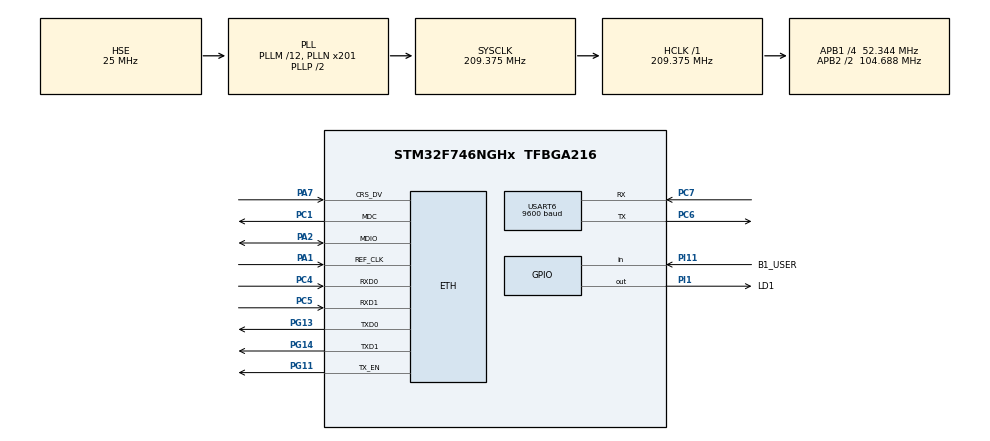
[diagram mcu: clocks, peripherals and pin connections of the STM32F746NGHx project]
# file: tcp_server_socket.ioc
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CORTEX_M7.AccessPermission-Cortex_Memory_Protection_Unit_Region0_Settings=MPU_REGION_NO_ACCESS
CORTEX_M7.AccessPermission-Cortex_Memory_Protection_Unit_Region1_Settings=MPU_REGION_FULL_ACCESS
CORTEX_M7.AccessPermission-Cortex_Memory_Protection_Unit_Region2_Settings=MPU_REGION_FULL_ACCESS
CORTEX_M7.BaseAddress-Cortex_Memory_Protection_Unit_Region0_Settings=0x00
CORTEX_M7.BaseAddress-Cortex_Memory_Protection_Unit_Region1_Settings=0x20048000
CORTEX_M7.BaseAddress-Cortex_Memory_Protection_Unit_Region2_Settings=0x2004C000
CORTEX_M7.CPU_DCache=Enabled
CORTEX_M7.CPU_ICache=Enabled
CORTEX_M7.DisableExec-Cortex_Memory_Protection_Unit_Region0_Settings=MPU_INSTRUCTION_ACCESS_DISABLE
CORTEX_M7.Enable-Cortex_Memory_Protection_Unit_Region0_Settings=MPU_REGION_ENABLE
CORTEX_M7.Enable-Cortex_Memory_Protection_Unit_Region1_Settings=MPU_REGION_ENABLE
CORTEX_M7.Enable-Cortex_Memory_Protection_Unit_Region2_Settings=MPU_REGION_ENABLE
CORTEX_M7.IsBufferable-Cortex_Memory_Protection_Unit_Region2_Settings=MPU_ACCESS_BUFFERABLE
CORTEX_M7.IsShareable-Cortex_Memory_Protection_Unit_Region0_Settings=MPU_ACCESS_SHAREABLE
CORTEX_M7.IsShareable-Cortex_Memory_Protection_Unit_Region2_Settings=MPU_ACCESS_SHAREABLE
CORTEX_M7.MPU_Control=MPU_PRIVILEGED_DEFAULT
CORTEX_M7.Size-Cortex_Memory_Protection_Unit_Region0_Settings=MPU_REGION_SIZE_4GB
CORTEX_M7.Size-Cortex_Memory_Protection_Unit_Region1_Settings=MPU_REGION_SIZE_16KB
CORTEX_M7.Size-Cortex_Memory_Protection_Unit_Region2_Settings=MPU_REGION_SIZE_1KB
CORTEX_M7.SubRegionDisable-Cortex_Memory_Protection_Unit_Region0_Settings=0x87
CORTEX_M7.TypeExtField-Cortex_Memory_Protection_Unit_Region0_Settings=MPU_TEX_LEVEL1
CORTEX_M7.TypeExtField-Cortex_Memory_Protection_Unit_Region1_Settings=MPU_TEX_LEVEL1
ETH.MediaInterface=HAL_ETH_RMII_MODE
ETH.RxDescAddress=0x2004C000
ETH.TxDescAddress=0x2004C0a0
FREERTOS.Tasks01=defaultTask,24,256,StartDefaultTask,Default,NULL,Dynamic,NULL,NULL
FREERTOS.configCHECK_FOR_STACK_OVERFLOW=2
FREERTOS.configLIBRARY_MAX_SYSCALL_INTERRUPT_PRIORITY=5
FREERTOS.configMAX_TASK_NAME_LEN=64
FREERTOS.configTOTAL_HEAP_SIZE=25*1024
FREERTOS.configUSE_NEWLIB_REENTRANT=1
FREERTOS.configUSE_STATS_FORMATTING_FUNCTIONS=1
LWIP.BSP.number=1
LWIP.CHECKSUM_GEN_ICMP=0
LWIP.CHECKSUM_GEN_IP=0
LWIP.CHECKSUM_GEN_TCP=1
LWIP.CHECKSUM_GEN_UDP=0
LWIP.GATEWAY_ADDRESS=192.168.000.001
LWIP.IP_ADDRESS=192.168.000.111
LWIP.LWIP_DHCP=0
LWIP.LWIP_HTTPD=1
LWIP.LWIP_TCP_KEEPALIVE=1
LWIP.MEMP_NUM_NETCONN=16
LWIP.MEMP_NUM_TCP_PCB_LISTEN=16
LWIP.MEMP_NUM_TCP_SEG=24
LWIP.MEM_SIZE=16*1048
LWIP.NETMASK_ADDRESS=255.255.255.000
LWIP.TCPIP_THREAD_STACKSIZE=5*1024
LWIP.TCP_MSS=1024
LWIP.TCP_SND_BUF=2048
LWIP.TCP_WND=8192
LWIP.Version=v2.1.2_Cube
LWIP0.BSP.STBoard=false
LWIP0.BSP.api=BSP_COMPONENT_DRIVER
LWIP0.BSP.component=LAN8742
LWIP0.BSP.instance=LAN8742
LWIP0.BSP.name=Driver_PHY
LWIP0.BSP.semaphore=S_LAN8742
LWIP0.BSP.solution=LAN8742
MBEDTLS.MBEDTLS_AES_C=0
MBEDTLS.MBEDTLS_ARC4_C=0
MBEDTLS.MBEDTLS_ASN1_PARSE_C=0
MBEDTLS.MBEDTLS_ASN1_WRITE_C=0
MBEDTLS.MBEDTLS_BASE64_C=1
MBEDTLS.MBEDTLS_BIGNUM_C=0
MBEDTLS.MBEDTLS_BLOWFISH_C=0
MBEDTLS.MBEDTLS_CAMELLIA_C=0
MBEDTLS.MBEDTLS_CERTS_C=0
MBEDTLS.MBEDTLS_CHACHA20_C=0
MBEDTLS.MBEDTLS_CIPHER_C=0
MBEDTLS.MBEDTLS_CIPHER_MODE_CBC=0
MBEDTLS.MBEDTLS_CIPHER_MODE_CFB=0
MBEDTLS.MBEDTLS_CIPHER_MODE_CTR=0
MBEDTLS.MBEDTLS_CIPHER_MODE_OFB=0
MBEDTLS.MBEDTLS_CIPHER_MODE_XTS=0
MBEDTLS.MBEDTLS_CIPHER_PADDING_ONE_AND_ZEROS=0
MBEDTLS.MBEDTLS_CIPHER_PADDING_PKCS7=0
MBEDTLS.MBEDTLS_CIPHER_PADDING_ZEROS=0
MBEDTLS.MBEDTLS_CIPHER_PADDING_ZEROS_AND_LEN=0
MBEDTLS.MBEDTLS_DES_C=0
MBEDTLS.MBEDTLS_DHM_C=0
MBEDTLS.MBEDTLS_ECDSA_DETERMINISTIC=0
MBEDTLS.MBEDTLS_ECP_DP_BP256R1_ENABLED=0
MBEDTLS.MBEDTLS_ECP_DP_BP384R1_ENABLED=0
MBEDTLS.MBEDTLS_ECP_DP_BP512R1_ENABLED=0
MBEDTLS.MBEDTLS_ECP_DP_CURVE25519_ENABLED=0
MBEDTLS.MBEDTLS_ECP_DP_CURVE448_ENABLED=0
MBEDTLS.MBEDTLS_ECP_DP_SECP192K1_ENABLED=0
MBEDTLS.MBEDTLS_ECP_DP_SECP192R1_ENABLED=0
MBEDTLS.MBEDTLS_ECP_DP_SECP224K1_ENABLED=0
MBEDTLS.MBEDTLS_ECP_DP_SECP224R1_ENABLED=0
MBEDTLS.MBEDTLS_ECP_DP_SECP256K1_ENABLED=0
MBEDTLS.MBEDTLS_ECP_DP_SECP256R1_ENABLED=0
MBEDTLS.MBEDTLS_ECP_DP_SECP384R1_ENABLED=0
MBEDTLS.MBEDTLS_ECP_DP_SECP521R1_ENABLED=0
MBEDTLS.MBEDTLS_ECP_NIST_OPTIM=0
MBEDTLS.MBEDTLS_ENTROPY_C=0
MBEDTLS.MBEDTLS_ERROR_C=0
MBEDTLS.MBEDTLS_ERROR_STRERROR_DUMMY=0
MBEDTLS.MBEDTLS_GENPRIME=0
MBEDTLS.MBEDTLS_HAVE_ASM=0
MBEDTLS.MBEDTLS_HAVE_TIME=0
MBEDTLS.MBEDTLS_HAVE_TIME_DATE=0
MBEDTLS.MBEDTLS_HKDF_C=0
MBEDTLS.MBEDTLS_HMAC_DRBG_C=0
MBEDTLS.MBEDTLS_KEY_EXCHANGE_DHE_PSK_ENABLED=0
MBEDTLS.MBEDTLS_KEY_EXCHANGE_PSK_ENABLED=0
MBEDTLS.MBEDTLS_MD5_C=0
MBEDTLS.MBEDTLS_MD_C=0
MBEDTLS.MBEDTLS_NET_C=0
MBEDTLS.MBEDTLS_NO_DEFAULT_ENTROPY_SOURCES=0
MBEDTLS.MBEDTLS_NO_PLATFORM_ENTROPY=0
MBEDTLS.MBEDTLS_NO_UDBL_DIVISION=0
MBEDTLS.MBEDTLS_OID_C=0
MBEDTLS.MBEDTLS_PEM_PARSE_C=1
MBEDTLS.MBEDTLS_PEM_WRITE_C=1
MBEDTLS.MBEDTLS_PKCS1_V15=0
MBEDTLS.MBEDTLS_PKCS1_V21=0
MBEDTLS.MBEDTLS_PK_PARSE_EC_EXTENDED=0
MBEDTLS.MBEDTLS_PK_RSA_ALT_SUPPORT=0
MBEDTLS.MBEDTLS_PLATFORM_C=0
MBEDTLS.MBEDTLS_POLY1305_C=0
MBEDTLS.MBEDTLS_REMOVE_3DES_CIPHERSUITES=0
MBEDTLS.MBEDTLS_REMOVE_ARC4_CIPHERSUITES=0
MBEDTLS.MBEDTLS_RIPEMD160_C=0
MBEDTLS.MBEDTLS_SELF_TEST=0
MBEDTLS.MBEDTLS_SHA1_C=1
MBEDTLS.MBEDTLS_SHA256_C=0
MBEDTLS.MBEDTLS_SHA512_C=0
MBEDTLS.MBEDTLS_SSL_CLI_C=0
MBEDTLS.MBEDTLS_SSL_SRV_C=0
MBEDTLS.MBEDTLS_VERSION_C=0
MBEDTLS.MBEDTLS_VERSION_FEATURES=0
MBEDTLS.MBEDTLS_X509_CHECK_EXTENDED_KEY_USAGE=0
MBEDTLS.MBEDTLS_X509_CHECK_KEY_USAGE=0
MBEDTLS.MBEDTLS_X509_RSASSA_PSS_SUPPORT=0
MBEDTLS.MBEDTLS_XTEA_C=0
Mcu.Family=STM32F7
Mcu.Name=STM32F746NGHx
Mcu.Package=TFBGA216
NVIC.ETH_IRQn=true\:15\:0\:true\:false\:true\:true\:false\:true\:true
NVIC.PriorityGroup=NVIC_PRIORITYGROUP_4
NVIC.TIM2_IRQn=true\:15\:0\:true\:false\:true\:false\:false\:true\:true
NVIC.TimeBase=TIM2_IRQn
NVIC.TimeBaseIP=TIM2
PA1.Mode=RMII
PA1.Signal=ETH_REF_CLK
PA13.Mode=Trace_Asynchronous_SW
PA13.Signal=SYS_JTMS-SWDIO
PA14.Mode=Trace_Asynchronous_SW
PA14.Signal=SYS_JTCK-SWCLK
PA2.Mode=RMII
PA2.Signal=ETH_MDIO
PA7.Mode=RMII
PA7.Signal=ETH_CRS_DV
PB3.Mode=Trace_Asynchronous_SW
PB3.Signal=SYS_JTDO-SWO
PC1.Mode=RMII
PC1.Signal=ETH_MDC
PC4.Mode=RMII
PC4.Signal=ETH_RXD0
PC5.Mode=RMII
PC5.Signal=ETH_RXD1
PC6.Mode=Asynchronous
PC6.Signal=USART6_TX
PC7.Mode=Asynchronous
PC7.Signal=USART6_RX
PG11.Mode=RMII
PG11.Signal=ETH_TX_EN
PG13.Mode=RMII
PG13.Signal=ETH_TXD0
PG14.Mode=RMII
PG14.Signal=ETH_TXD1
PH0/OSC_IN.Mode=HSE-External-Oscillator
PH0/OSC_IN.Signal=RCC_OSC_IN
PH1/OSC_OUT.Mode=HSE-External-Oscillator
PH1/OSC_OUT.Signal=RCC_OSC_OUT
PI1.GPIO_Label=LD1
PI1.GPIO_PuPd=GPIO_PULLDOWN
PI1.Signal=GPIO_Output
PI11.GPIO_Label=B1_USER
PI11.GPIO_PuPd=GPIO_PULLDOWN
PI11.Signal=GPIO_Input
ProjectManager.HeapSize=0x2000
ProjectManager.StackSize=0x4000
ProjectManager.TargetToolchain=STM32CubeIDE
RCC.AHBFreq_Value=209375000
RCC.APB1CLKDivider=RCC_HCLK_DIV4
RCC.APB1Freq_Value=52343750
RCC.APB1TimFreq_Value=104687500
RCC.APB2CLKDivider=RCC_HCLK_DIV2
RCC.APB2Freq_Value=104687500
RCC.APB2TimFreq_Value=209375000
RCC.CortexFreq_Value=209375000
RCC.HCLKFreq_Value=209375000
RCC.HSE_VALUE=25000000
RCC.HSI_VALUE=16000000
RCC.LSE_VALUE=32768
RCC.PLL48CLockSelection=RCC_CLK48SOURCE_PLLSAIP
RCC.PLLI2SN=100
RCC.PLLM=12
RCC.PLLN=201
RCC.PLLQ=9
RCC.PLLSAIN=384
RCC.PLLSAIP=RCC_PLLSAIP_DIV8
RCC.PLLSAIR=5
RCC.PLLSAIRDiv=RCC_PLLSAIDIVR_8
RCC.PLLSourceVirtual=RCC_PLLSOURCE_HSE
RCC.SDMMCClockSelection=RCC_SDMMC1CLKSOURCE_CLK48
RCC.SYSCLKFreq_VALUE=209375000
RCC.SYSCLKSource=RCC_SYSCLKSOURCE_PLLCLK
RCC.USBFreq_Value=100000000
RCC.VCOOutputFreq_Value=418750000
USART6.BaudRate=9600
USART6.VirtualMode-Asynchronous=VM_ASYNC
VP_FREERTOS_VS_CMSIS_V2.Mode=CMSIS_V2
VP_LWIP_VS_Enabled.Mode=Enabled
VP_MBEDTLS_VS_MBEDTLS.Mode=Enabled
VP_SYS_VS_tim2.Mode=TIM2
board=STM32F746G-DISCO

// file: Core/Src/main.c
/* USER CODE BEGIN Header */
/**
  ******************************************************************************
  * @file           : main.c
  * @brief          : Main program body
  ******************************************************************************
  * @attention
  *
  * Copyright (c) 2025 STMicroelectronics.
  * All rights reserved.
  *
  * This software is licensed under terms that can be found in the LICENSE file
  * in the root directory of this software component.
  * If no LICENSE file comes with this software, it is provided AS-IS.
  *
  ******************************************************************************
  */
/* USER CODE END Header */
#include "main.h"
#include "cmsis_os.h"
#include "mbedtls.h"
#include "usart.h"
#include "gpio.h"

void SystemClock_Config(void);
static void MPU_Config(void);
void MX_FREERTOS_Init(void);

int main(void)
{

  /* MPU Configuration--------------------------------------------------------*/
  MPU_Config();
/* Enable the CPU Cache */

  /* Enable I-Cache---------------------------------------------------------*/
  SCB_EnableICache();

  /* Enable D-Cache---------------------------------------------------------*/
  SCB_EnableDCache();

  /* MCU Configuration--------------------------------------------------------*/

  /* Reset of all peripherals, Initializes the Flash interface and the Systick. */
  HAL_Init();

  /* Configure the system clock */
  SystemClock_Config();

  /* Initialize all configured peripherals */
  MX_GPIO_Init();
  MX_MBEDTLS_Init();
  MX_USART6_UART_Init();
  /* Call PreOsInit function */
  MX_MBEDTLS_Init();

  /* Init scheduler */
  osKernelInitialize();

  /* Call init function for freertos objects (in freertos.c) */
  MX_FREERTOS_Init();

  /* Start scheduler */
  osKernelStart();

  /* We should never get here as control is now taken by the scheduler */
  /* Infinite loop */
  while (1)
  {

  }
}

void SystemClock_Config(void)
{
  RCC_OscInitTypeDef RCC_OscInitStruct = {0};
  RCC_ClkInitTypeDef RCC_ClkInitStruct = {0};

  /** Configure the main internal regulator output voltage
  */
  __HAL_RCC_PWR_CLK_ENABLE();
  __HAL_PWR_VOLTAGESCALING_CONFIG(PWR_REGULATOR_VOLTAGE_SCALE1);

  /** Initializes the RCC Oscillators according to the specified parameters
  * in the RCC_OscInitTypeDef structure.
  */
  RCC_OscInitStruct.OscillatorType = RCC_OSCILLATORTYPE_HSE;
  RCC_OscInitStruct.HSEState = RCC_HSE_ON;
  RCC_OscInitStruct.PLL.PLLState = RCC_PLL_ON;
  RCC_OscInitStruct.PLL.PLLSource = RCC_PLLSOURCE_HSE;
  RCC_OscInitStruct.PLL.PLLM = 12;
  RCC_OscInitStruct.PLL.PLLN = 201;
  RCC_OscInitStruct.PLL.PLLP = RCC_PLLP_DIV2;
  RCC_OscInitStruct.PLL.PLLQ = 9;
  if (HAL_RCC_OscConfig(&RCC_OscInitStruct) != HAL_OK)
  {
    Error_Handler();
  }

  /** Activate the Over-Drive mode
  */
  if (HAL_PWREx_EnableOverDrive() != HAL_OK)
  {
    Error_Handler();
  }

  /** Initializes the CPU, AHB and APB buses clocks
  */
  RCC_ClkInitStruct.ClockType = RCC_CLOCKTYPE_HCLK|RCC_CLOCKTYPE_SYSCLK
                              |RCC_CLOCKTYPE_PCLK1|RCC_CLOCKTYPE_PCLK2;
  RCC_ClkInitStruct.SYSCLKSource = RCC_SYSCLKSOURCE_PLLCLK;
  RCC_ClkInitStruct.AHBCLKDivider = RCC_SYSCLK_DIV1;
  RCC_ClkInitStruct.APB1CLKDivider = RCC_HCLK_DIV4;
  RCC_ClkInitStruct.APB2CLKDivider = RCC_HCLK_DIV2;

  if (HAL_RCC_ClockConfig(&RCC_ClkInitStruct, FLASH_LATENCY_6) != HAL_OK)
  {
    Error_Handler();
  }
}

/* MPU Configuration */

void MPU_Config(void)
{
  MPU_Region_InitTypeDef MPU_InitStruct = {0};

  /* Disables the MPU */
  HAL_MPU_Disable();

  /** Initializes and configures the Region and the memory to be protected
  */
  MPU_InitStruct.Enable = MPU_REGION_ENABLE;
  MPU_InitStruct.Number = MPU_REGION_NUMBER0;
  MPU_InitStruct.BaseAddress = 0x00;
  MPU_InitStruct.Size = MPU_REGION_SIZE_4GB;
  MPU_InitStruct.SubRegionDisable = 0x87;
  MPU_InitStruct.TypeExtField = MPU_TEX_LEVEL1;
  MPU_InitStruct.AccessPermission = MPU_REGION_NO_ACCESS;
  MPU_InitStruct.DisableExec = MPU_INSTRUCTION_ACCESS_DISABLE;
  MPU_InitStruct.IsShareable = MPU_ACCESS_SHAREABLE;
  MPU_InitStruct.IsCacheable = MPU_ACCESS_NOT_CACHEABLE;
  MPU_InitStruct.IsBufferable = MPU_ACCESS_NOT_BUFFERABLE;

  HAL_MPU_ConfigRegion(&MPU_InitStruct);

  /** Initializes and configures the Region and the memory to be protected
  */
  MPU_InitStruct.Number = MPU_REGION_NUMBER1;
  MPU_InitStruct.BaseAddress = 0x20048000;
  MPU_InitStruct.Size = MPU_REGION_SIZE_16KB;
  MPU_InitStruct.SubRegionDisable = 0x0;
  MPU_InitStruct.AccessPermission = MPU_REGION_FULL_ACCESS;
  MPU_InitStruct.DisableExec = MPU_INSTRUCTION_ACCESS_ENABLE;
  MPU_InitStruct.IsShareable = MPU_ACCESS_NOT_SHAREABLE;

  HAL_MPU_ConfigRegion(&MPU_InitStruct);

  /** Initializes and configures the Region and the memory to be protected
  */
  MPU_InitStruct.Number = MPU_REGION_NUMBER2;
  MPU_InitStruct.BaseAddress = 0x2004C000;
  MPU_InitStruct.Size = MPU_REGION_SIZE_1KB;
  MPU_InitStruct.TypeExtField = MPU_TEX_LEVEL0;
  MPU_InitStruct.IsShareable = MPU_ACCESS_SHAREABLE;
  MPU_InitStruct.IsBufferable = MPU_ACCESS_BUFFERABLE;

  HAL_MPU_ConfigRegion(&MPU_InitStruct);
  /* Enables the MPU */
  HAL_MPU_Enable(MPU_PRIVILEGED_DEFAULT);

}

void HAL_TIM_PeriodElapsedCallback(TIM_HandleTypeDef *htim)
{
  if (htim->Instance == TIM2) {
    HAL_IncTick();
  }
}

void Error_Handler(void)
{
  __disable_irq();
  while (1)
  {
  }
}

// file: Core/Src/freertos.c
/* USER CODE BEGIN Header */
/**
  ******************************************************************************
  * File Name          : freertos.c
  * Description        : Code for freertos applications
  ******************************************************************************
  * @attention
  *
  * Copyright (c) 2025 STMicroelectronics.
  * All rights reserved.
  *
  * This software is licensed under terms that can be found in the LICENSE file
  * in the root directory of this software component.
  * If no LICENSE file comes with this software, it is provided AS-IS.
  *
  ******************************************************************************
  */
/* USER CODE END Header */

#include "FreeRTOS.h"
#include "task.h"
#include "main.h"
#include "cmsis_os.h"

/* USER CODE BEGIN Includes */
#include "app.h"
#include "fs.h"
#include "stdio.h"
#include "sockets.h"
#include "mbedtls/sha1.h"
#include "mbedtls/base64.h"
/* USER CODE END Includes */

/* USER CODE BEGIN Variables */
#ifdef ENABLE_MODBUS_TCP
const osThreadAttr_t tcp_server_Task_attributes = {
  .name = "tcp_server_thread",
  .stack_size = TCP_STACK_SIZE,
  .priority = (osPriority_t) osPriorityNormal,
};

osThreadId_t tcp_server_TaskHandle = NULL;
#endif

const osThreadAttr_t httpServerTask_attributes = {
  .name = "httpServerTask",
  .stack_size =  HTTP_SERVER_STACK_SIZE,
  .priority = (osPriority_t) osPriorityNormal1,
};

osThreadId_t httpServerTaskHandle = NULL;

const osThreadAttr_t ws_thread_attr = {
    .name = "WebSocketThread",
    .stack_size = WEBSOCKET_STACK_SIZE,
	.priority = (osPriority_t) osPriorityNormal
};

osThreadId_t ws_thread_id = NULL;

osMessageQueueId_t ws_queue;
#ifdef ENABLE_MODBUS_TCP
static ts_client_socket clients_sock_arr[MAX_TCP_SOCK_CLIENTS] ;

static nmbs_t nmbs;

static nmbs_server_t nmbs_server = {.id = 0x01,.coils = {0},.regs = {0},.input_regs = {0}};
#endif
/* USER CODE END Variables */
/* Definitions for defaultTask */
osThreadId_t defaultTaskHandle;
const osThreadAttr_t defaultTask_attributes = {
  .name = "defaultTask",
  .stack_size = 256 * 4,
  .priority = (osPriority_t) osPriorityNormal,
};

/* USER CODE BEGIN FunctionPrototypes */
#ifdef ENABLE_MODBUS_TCP
static void tcp_server_thread(void* argument);
#endif
static void http_server_thread(void* argument);
static void websocket_thread(void *argument);
void generate_ws_accept(const char *key, char *output);
int parse_ws_frame(const char *data, int len, ws_frame_t *frame);
int create_ws_frame(char *buffer, int buflen, const char *payload, int payload_len, uint8_t opcode);
void send_response(int sock, const char *content_type, const char *data, int len);
void broadcast_to_ws_clients(int* clients_sock,const char *message, int len);
/* USER CODE END FunctionPrototypes */

void StartDefaultTask(void *argument);

extern void MX_LWIP_Init(void);
void MX_FREERTOS_Init(void); /* (MISRA C 2004 rule 8.1) */

/* Hook prototypes */
void vApplicationStackOverflowHook(xTaskHandle xTask, signed char *pcTaskName);

/* USER CODE BEGIN 4 */
void vApplicationStackOverflowHook(xTaskHandle xTask, signed char *pcTaskName)
{
	printf("Stack overflow in %s\r\n",pcTaskName);
	__NOP();
}

void vApplicationMallocFailedHook(void)
{
	printf("Low heap!\r\n");
	__NOP();
}

int _write(int file,char* ptr,int len)
{
	for(int DataIdx=0;DataIdx<len;DataIdx++)
	{
#ifdef DEBUG_THROUGH_ITM
		ITM_SendChar(*ptr++);
#elif defined(DEBUG_THROUGH_UART)
		HAL_UART_Transmit(DEBUG_UART_HANDLE, (uint8_t*)ptr++, (uint16_t)1,1000);
#endif
	}
	return len;
}
/* USER CODE END 4 */

void MX_FREERTOS_Init(void) {

  /* Create the thread(s) */
  /* creation of defaultTask */
  defaultTaskHandle = osThreadNew(StartDefaultTask, NULL, &defaultTask_attributes);

}

void StartDefaultTask(void *argument)
{
  /* USER CODE BEGIN StartDefaultTask */
  MX_LWIP_Init();

  osDelay(500); //let ITM stabilize
#ifdef ENABLE_MODBUS_TCP
  tcp_server_TaskHandle = osThreadNew(tcp_server_thread, NULL, &tcp_server_Task_attributes);

  if(tcp_server_TaskHandle == NULL)
  {
	  printf("failed to create tcp_server_thread");
	  Error_Handler();
  }
#endif

  httpServerTaskHandle = osThreadNew(http_server_thread, NULL, &httpServerTask_attributes);

  if(httpServerTaskHandle == NULL)
  {
	  printf("failed to create httpServerTask\r\n");
	  Error_Handler();
  }

  ws_thread_id = osThreadNew(websocket_thread, NULL, &ws_thread_attr);

  if(ws_thread_id == NULL)
  {
	  printf("failed to create WebSocketThread\r\n");
	  Error_Handler();
  }

  ws_queue = osMessageQueueNew(4, sizeof(int), NULL);

  if(ws_queue == NULL)
  {
	  printf("failed to create WebSocket queue\r\n");
	  Error_Handler();
  }
  /* Infinite loop */
  for(;;)
  {
    osDelay(1000);
  }
  /* USER CODE END StartDefaultTask */
}

/* USER CODE BEGIN Application */
static void websocket_thread(void *argument)
{
	printf("Start %s\n\r",osThreadGetName(osThreadGetId()));
    char frame[256];
    int clients_sock[MAX_WS_CLIENTS] = {[0 ... (MAX_WS_CLIENTS-1)] =  -1};
    _Bool is_button_rised = true;

    for(;;)
    {
        int new_sock = -1;
        if (osMessageQueueGet(ws_queue, &new_sock, NULL, 0) == osOK)
        {
            for (int idx = 0; idx < MAX_WS_CLIENTS; idx++)
            {
                if (clients_sock[idx] < 0)
                {
                	clients_sock[idx] = new_sock;
                    fcntl(new_sock, F_SETFL, O_NONBLOCK);
                    printf("%s: New WebSocket client connected (%d/%d)\r\n",__func__,idx+1, MAX_WS_CLIENTS);

                    // Send initial state to new client
				   GPIO_PinState led_state = HAL_GPIO_ReadPin(LD1_GPIO_Port, LD1_Pin);
				   char init_msg[64];
				   int len = snprintf(init_msg, sizeof(init_msg),
					   "{\"type\":\"led\",\"state\":%d}",
					   (led_state == GPIO_PIN_SET) ? 1 : 0);
				   broadcast_to_ws_clients(&clients_sock[idx], init_msg, len);
				   break;
                }
                else if(idx >= MAX_WS_CLIENTS - 1 && clients_sock[idx] >= 0)
                {
                    printf("%s: WebSocket client limit reached (%d), rejecting connection %d...\r\n",__func__, MAX_WS_CLIENTS,new_sock);
                    const char *resp = "HTTP/1.1 503 Service Unavailable\r\n"
                                    "Connection: close\r\n\r\n"
                                    "Server busy - try again later";
                    write(new_sock, resp, strlen(resp));
                    osDelay(10);
                    close(new_sock);
                    break;
                }
            }
        }

        uint32_t flags = osThreadFlagsWait(0x01, osFlagsWaitAny, pdMS_TO_TICKS(100));

        if(flags & 0x01)
        {
		    GPIO_PinState new_led_state  = HAL_GPIO_ReadPin(LD1_GPIO_Port, LD1_Pin);

		    char led_update[64];
			int len = snprintf(led_update, sizeof(led_update),
				"{\"type\":\"led\",\"state\":%d}",
				(new_led_state == GPIO_PIN_SET) ? 1 : 0);

			printf("%s: Broadcasting led state to all clients...\r\n",__func__);

			broadcast_to_ws_clients(clients_sock,led_update,len);
        }

        for (int idx = 0; idx < MAX_WS_CLIENTS; idx++)
        {
            if (clients_sock[idx] < 0)
            	continue;

            int bytes_read = recv(clients_sock[idx], frame, sizeof(frame), 0);

            if (bytes_read > 0)
            {
                ws_frame_t ws_frame;
                if (parse_ws_frame(frame, bytes_read, &ws_frame) > 0)
                {
                    if (ws_frame.opcode == 0x1)
                    {
                        printf("%s: Client %d: %.*s\n",__func__, idx,(int)ws_frame.payload_len, ws_frame.payload_data);
                    }
                    else if (ws_frame.opcode == 0x8)
                    {
                        printf("%s: Client %d disconnected\n",__func__, idx);
                        close(clients_sock[idx]);
                        clients_sock[idx] = -1;
                        continue;
                    }
                }
            }
            else if (bytes_read == 0)
            {
                printf("%s: Client %d disconnected\n",__func__, idx);
                close(clients_sock[idx]);
                clients_sock[idx] = -1;
                continue;
            }
            else if (bytes_read < 0 && errno != EAGAIN && errno != EWOULDBLOCK)
            {
                printf("%s: Client %d error, disconnecting\n",__func__, idx);
                close(clients_sock[idx]);
                clients_sock[idx] = -1;
                continue;
            }

			GPIO_PinState btn_state = HAL_GPIO_ReadPin(B1_USER_GPIO_Port, B1_USER_Pin);

			if(btn_state == GPIO_PIN_SET)
			{
				if(is_button_rised == true)
				{
					char json[64];
					int len = snprintf(json, sizeof(json),"{\"type\":\"button\",\"pressed\":%d}",btn_state);

					broadcast_to_ws_clients(clients_sock,json,len);

					is_button_rised = false;
				}
			}
			else
			{
				if(is_button_rised == false)
				{
					char json[64];
					int len = snprintf(json, sizeof(json),"{\"type\":\"button\",\"pressed\":%d}",btn_state);

					broadcast_to_ws_clients(clients_sock,json,len);

					is_button_rised = true;
				}
			}
        }
        osDelay(10);
    }
}

static void http_server_thread(void* argument)
{
    printf("Start %s\n\r", osThreadGetName(osThreadGetId()));
    int http_sock, max_fd;
    struct sockaddr_in http_addr;
    fd_set read_fds, master_fds;
    int client_sockets[MAX_HTTP_CLIENTS]; // Array to track client sockets
    int idx;

    for (idx = 0; idx < MAX_HTTP_CLIENTS; idx++)
    {
        client_sockets[idx] = -1;
    }

    if ((http_sock = socket(AF_INET, SOCK_STREAM, 0)) < 0)
    {
        printf("%s: Socket creation fail\r\n", __func__);
        osThreadTerminate(osThreadGetId());
    }

    http_addr.sin_family = AF_INET;
    http_addr.sin_addr.s_addr = INADDR_ANY;
    http_addr.sin_port = htons(HTTP_PORT);

    if (bind(http_sock, (struct sockaddr*)&http_addr, sizeof(http_addr)) < 0)
    {
        printf("%s: Bind error\r\n", __func__);
        close(http_sock);
        osThreadTerminate(osThreadGetId());
    }

    listen(http_sock, 32);
    fcntl(http_sock, F_SETFL, O_NONBLOCK);

    FD_ZERO(&master_fds);
    FD_SET(http_sock, &master_fds);
    max_fd = http_sock;

    for (;;)
    {
        // Copy the master set to working set
        read_fds = master_fds;

        // Wait for activity on any socket
        if (select(max_fd + 1, &read_fds, NULL, NULL, NULL) < 0)
        {
            printf("%s: select error\r\n",__func__);
            continue;
        }

        // Check all sockets for activity
        for (idx = 0; idx <= max_fd; idx++)
        {
            if (FD_ISSET(idx, &read_fds))
            {
                // New connection on server socket
                if (idx == http_sock)
                {
                    struct sockaddr_in http_client;
                    socklen_t http_len = sizeof(http_client);
                    int new_client = accept(http_sock, (struct sockaddr*)&http_client, &http_len);

                    if (new_client >= 0)
                    {
                        printf("%s: New connection accepted %d\r\n",__func__,new_client);

                        struct timeval timeout = { .tv_sec = 10, .tv_usec = 0 }; //connection timeout for this socket
                        setsockopt(new_client, SOL_SOCKET, SO_RCVTIMEO, &timeout, sizeof(timeout));

                        fcntl(new_client, F_SETFL, O_NONBLOCK);

                        int cnt;
                        for (cnt = 0; cnt < MAX_HTTP_CLIENTS; cnt++)
                        {
                            if (client_sockets[cnt] < 0)
                            {
                                client_sockets[cnt] = new_client;
                                break;
                            }
                        }

                        if (cnt < MAX_HTTP_CLIENTS )
                        {
                            FD_SET(new_client, &master_fds);
                            if (new_client > max_fd)
                            {
                                max_fd = new_client;
                            }

                        }
                        else
                        {
                        	printf("%s: Too many connections. Closing %d...\r\n",__func__,new_client);
							const char *resp = "HTTP/1.1 503 Service Unavailable\r\n"
											"Connection: close\r\n\r\n"
											"Server busy - try again later";
							write(new_client, resp, strlen(resp));
							osDelay(10);
							close(new_client);
                        }
                    }
                    else
                    {
						if (errno == EWOULDBLOCK || errno == EAGAIN)
						{
							osDelay(10);
							continue;
						}
						printf("%s: %d accept error\r\n",__func__,new_client);
                    }
                }
                else
                {
                    struct fs_file file;
                    char request[512] = {0};
                    int bytes_read = recv(idx, request, sizeof(request), 0);

                    if (bytes_read > 0)
                    {
                        request[bytes_read] = '\0';

                        int send_file(int sock, const char *path, const char *content_type)
                        {
                            printf("%s: %s requested by client %d\r\n",osThreadGetName(osThreadGetId()), path,sock);
                            if(fs_open(&file, path) == 0)
                            {
                                char headers[256];
                                int len = snprintf(headers, sizeof(headers),
                                    "HTTP/1.1 200 OK\r\n"
                                    "Content-Type: %s\r\n"
                                    "Content-Length: %d\r\n"
                                    "Connection: close\r\n\r\n",
                                    content_type, file.len);

                                int sent = write(sock, headers, len);
                                if (sent != len)
                                {
                                    printf("%s: Failed to send complete headers to client %d\r\n",osThreadGetName(osThreadGetId()),sock);
                                    fs_close(&file);
                                    return -1;
                                }

                                size_t total_sent = 0;
                                while (total_sent < file.len)
                                {
                                    sent = write(sock, file.data + total_sent, file.len - total_sent);
                                    if (sent <= 0)
                                    {
                                        if (errno == EAGAIN || errno == EWOULDBLOCK)
                                        {
                                            osDelay(1);
                                            continue;
                                        }
                                        printf("%s: Failed to send file data to client %d\r\n",osThreadGetName(osThreadGetId()),sock);
                                        fs_close(&file);
                                        return -1;
                                    }
                                    total_sent += sent;
                                }

                                fs_close(&file);
                                printf("%s: %s sent completely (%d bytes) to client %d\n",osThreadGetName(osThreadGetId()), path, total_sent,sock);
                                return 0;
                            }
                            else
                            {
                                printf("%s: fail to open %s\r\n",osThreadGetName(osThreadGetId()), path);
                                return -1;
                            }
                        }

						int file_send_err = 0;
						if (strstr(request, "Upgrade: websocket") && strstr(request, "GET /ws"))
						{
							char *key_start = strstr(request, "Sec-WebSocket-Key: ");
							if (key_start)
							{
								char ws_key[64], accept_key[64];
								key_start += strlen("Sec-WebSocket-Key: ");
								char *key_end = strstr(key_start, "\r\n");
								if (key_end) {
									int key_len = key_end - key_start;
									strncpy(ws_key, key_start, key_len);
									ws_key[key_len] = '\0';

									generate_ws_accept(ws_key, accept_key);

									char response[256];
									int len = snprintf(response, sizeof(response),
										"HTTP/1.1 101 Switching Protocols\r\n"
										"Upgrade: websocket\r\n"
										"Connection: Upgrade\r\n"
										"Sec-WebSocket-Accept: %s\r\n\r\n",
										accept_key);
									write(idx, response, len);

									if (osMessageQueuePut(ws_queue, &idx, 0, 100) != osOK)
									{
										printf("%s: WebSocket client queue full, rejecting connection\r\n",__func__);
				                        close(idx);
				                        FD_CLR(idx, &master_fds);

				                        // Remove from client sockets array
				                        for (int cnt = 0; cnt < MAX_HTTP_CLIENTS; cnt++)
				                        {
				                            if (client_sockets[cnt] == idx)
				                            {
				                                client_sockets[cnt] = -1;
				                                break;
				                            }
				                        }
									}
									continue;
								}
							}
						}
						if(strstr(request, "GET /spacerockets.html") || strstr(request, "GET / "))
						{
							file_send_err = send_file(idx,"/spacerockets.html", "text/html");
						}
						else if(strstr(request, "GET /control.html"))
						{
							file_send_err = send_file(idx,"/control.html", "text/html");
						}
						else if(strstr(request, "GET /control.js"))
						{
							file_send_err = send_file(idx,"/control.js", "application/javascript");
						}
						else if(strstr(request, "GET /styles.css"))
						{
							file_send_err = send_file(idx,"/styles.css", "text/css");
						}
						else if(strstr(request, "GET /favicon.ico"))
						{
							file_send_err = send_file(idx,"/favicon.ico", "image/x-icon");
						}
						else if (strstr(request, "GET /led-state"))
						{
							GPIO_PinState led_state = HAL_GPIO_ReadPin(LD1_GPIO_Port, LD1_Pin);

							char json[32];
							int len = snprintf(json, sizeof(json), "{\"state\":%d}",
											  (led_state == GPIO_PIN_SET) ? 1 : 0);

							char response[128];
							snprintf(response, sizeof(response),
								"HTTP/1.1 200 OK\r\n"
								"Content-Type: application/json\r\n"
								"Content-Length: %d\r\n"
								"Connection: close\r\n\r\n"
								"%s",
								len, json);

							write(idx, response, strlen(response));
						}
						else if(strstr(request, "GET /img/"))
						{
							char *path_start = strstr(request, "GET /img/");
							if (path_start)
							{
								char path[64] = {0},*content_type = "image/png";

								sscanf(path_start, "GET %63s", path);

								if (strstr(path, ".jpg") || strstr(path, ".jpeg"))
								{
									content_type = "image/jpeg";
								}
								else if (strstr(path, ".png"))
								{
									content_type = "image/png";
								}

								file_send_err = send_file(idx,path, content_type);
							}
							else
								file_send_err = -2;
						}
						else if (strstr(request, "POST /led"))
						{
							HAL_GPIO_WritePin(LD1_GPIO_Port, LD1_Pin,(strstr(request, "\"state\":1") ? GPIO_PIN_SET : GPIO_PIN_RESET));

						    // Send success response
						    const char *response = "HTTP/1.1 200 OK\r\n"
						                          "Content-Type: application/json\r\n"
						                          "Content-Length: 0\r\n"
						                          "Connection: close\r\n\r\n";
						    write(idx, response, strlen(response));

							osThreadFlagsSet(ws_thread_id, 0x01);

						}
						else
						{
							file_send_err = send_file(idx,"/404.html", "text/html");
						}

						if(file_send_err != 0)
						{
							if(file_send_err == -1)
								printf("%s: Fatal: could not open the file\r\n",__func__);
							else if(file_send_err == -2)
								printf("%s: Fatal: wrong path\r\n",__func__);
							const char *resp = "HTTP/1.1 404 Not Found\r\n\r\n";
							write(idx, resp, strlen(resp));
						}

                        close(idx);
                        FD_CLR(idx, &master_fds);

                        // Remove from client sockets array
                        for (int cnt = 0; cnt < MAX_HTTP_CLIENTS; cnt++)
                        {
                            if (client_sockets[cnt] == idx)
                            {
                                client_sockets[cnt] = -1;
                                break;
                            }
                        }
                    }
                    else if (bytes_read == 0)
                    {
                        // Connection closed by client
                        close(idx);
                        FD_CLR(idx, &master_fds);

                        for (int cnt = 0; cnt < MAX_HTTP_CLIENTS; cnt++)
                        {
                            if (client_sockets[cnt] == idx)
                            {
                                client_sockets[cnt] = -1;
                                break;
                            }
                        }
                    }
                }
            }
        }

        //Prevent CPU hogging
        osDelay(1);
    }
}

#ifdef ENABLE_MODBUS_TCP
static void tcp_server_thread(void* argument)
{
	printf("Start %s\n\r",osThreadGetName(osThreadGetId()));
	printf("Real free heap (tcp_server_thread): %lu\r\n",(uint32_t)xPortGetFreeHeapSize());
	printf("Stack free(tcp_server_thread): %lu\r\n",(uint32_t)uxTaskGetStackHighWaterMark(NULL));
	uint16_t port = MODBUS_TCP_PORT;
	int sock;
	struct sockaddr_in address,remotehost;
	socklen_t sockaddrsize = sizeof(remotehost);

	for (uint16_t idx = 0; idx < MAX_TCP_SOCK_CLIENTS; idx++) {
		clients_sock_arr[idx] = (ts_client_socket){.accept_sock = -1,
												   .data_count = 0,
												   .sockaddrsize_ = sockaddrsize,
												   .in_use = false
												};
		memset(clients_sock_arr[idx].client_data,0,(size_t)COIL_BUF_SIZE);
	}

	nmbs_server_init(&nmbs, &nmbs_server);

	if((sock = socket(AF_INET,SOCK_STREAM,0)) >= 0)
	{
		fcntl(sock, F_SETFL, O_NONBLOCK);

		address.sin_family = AF_INET;
		address.sin_addr.s_addr = INADDR_ANY;
		address.sin_port = htons(port);

		if(bind(sock,(struct sockaddr*)&address,sizeof(address)) == 0)
		{
			listen(sock,5);

			fd_set readfds;
			int max_sock = sock;

			for(;;)
			{
				FD_ZERO(&readfds);
				FD_SET(sock,&readfds);

				for(uint8_t client_pos=0;client_pos <MAX_TCP_SOCK_CLIENTS;client_pos++ )
				{
					if(clients_sock_arr[client_pos].accept_sock > 0)
					{
						FD_SET(clients_sock_arr[client_pos].accept_sock,&readfds);
						if(clients_sock_arr[client_pos].accept_sock > max_sock)
						{
							max_sock = clients_sock_arr[client_pos].accept_sock;
						}
					}
				}

				struct timeval timeout = (struct timeval){.tv_sec=0,.tv_usec=10000};

				int activity = select(max_sock+1,&readfds,NULL,NULL,&timeout);

				if(activity < 0)
				{
					printf("select error in %s\r\n",osThreadGetName(osThreadGetId()));
					continue;
				}

				if(FD_ISSET(sock,&readfds))
				{
					int new_sock = accept(sock,(struct sockaddr*)&remotehost,(socklen_t*)&sockaddrsize);
					if (new_sock > 0)
					{
		             	printf("Real free heap (tcp_server_thread): %lu\r\n",(uint32_t)xPortGetFreeHeapSize());
						printf("Stack free(tcp_server_thread): %lu\r\n",(uint32_t)uxTaskGetStackHighWaterMark(NULL));
						int slot = -1;
						for (uint16_t idx = 0; idx < MAX_TCP_SOCK_CLIENTS; idx++)
						{
							if (clients_sock_arr[idx].accept_sock <= 0)
							{
								slot = idx;
								break;
							}
						}

						if (slot >= 0)
						{
							fcntl(new_sock, F_SETFL, O_NONBLOCK);
							clients_sock_arr[slot].accept_sock = new_sock;
							remotehost_struct_deep_copy(&clients_sock_arr[slot].remotehost,&remotehost);
						}
						else
						{
							close(new_sock);
						}
					}
				}

				for(uint8_t client_pos=0;client_pos <MAX_TCP_SOCK_CLIENTS;client_pos++ )
				{
					if(clients_sock_arr[client_pos].accept_sock > 0 && FD_ISSET(clients_sock_arr[client_pos].accept_sock,&readfds))
					{
						int ret = recv(clients_sock_arr[client_pos].accept_sock,clients_sock_arr[client_pos].client_data,20,0);
						if(ret <=0)
						{
							close(clients_sock_arr[client_pos].accept_sock);
							clients_sock_arr[client_pos].accept_sock = -1;
						}
						else
						{
							clients_sock_arr[client_pos].in_use = true;
							clients_sock_arr[client_pos].data_count = ret;
							nmbs_server_poll(&nmbs);
						}
					}
				}
			}
		 }
		else
		{
			printf("bind failed in %s\r\n",osThreadGetName(osThreadGetId()));
			close(sock);
			osThreadTerminate(osThreadGetId());
		}
	}
	else
	{
		printf("socket creation failed in %s\r\n",osThreadGetName(osThreadGetId()));
		osThreadTerminate(osThreadGetId());
	}
}

const nmbs_t get_nmbs(void)
{
	return nmbs;
}

ts_client_socket* get_clients_arr(void)
{
	return clients_sock_arr;
}

void remotehost_struct_deep_copy(struct sockaddr_in* dest,const struct sockaddr_in* src)
{
	dest->sin_addr = src->sin_addr;
	dest->sin_family = src->sin_family;
	dest->sin_len = src->sin_len;
	dest->sin_port = src->sin_port;
	memcpy(&(dest->sin_zero),src->sin_zero,SIN_ZERO_LEN);
}
#endif
void generate_ws_accept(const char *key, char *output)
{
    char combined[64];
    const char *ws_guid = "258EAFA5-E914-47DA-95CA-C5AB0DC85B11";

    snprintf(combined, sizeof(combined), "%s%s", key, ws_guid);

    unsigned char sha1[20];
    mbedtls_sha1((unsigned char *)combined, strlen(combined), sha1);

    mbedtls_base64_encode((unsigned char *)output, 64, NULL, sha1, 20);
}

int parse_ws_frame(const char *data, int len, ws_frame_t *frame)
{
    if (len < 2)
    	return -1;

    const uint8_t *bytes = (const uint8_t *)data;

    frame->fin = (bytes[0] & 0x80) != 0;
    frame->opcode = bytes[0] & 0x0F;
    frame->mask = (bytes[1] & 0x80) != 0;
    frame->payload_len = bytes[1] & 0x7F;

    int offset = 2;

    if (frame->payload_len == 126)
    {
        if (len < offset + 2)
        	return -1;
        frame->payload_len = (bytes[2] << 8) | bytes[3];
        offset += 2;
    }
    else if (frame->payload_len == 127)
    {
        if (len < offset + 8)
        	return -1;
        // For 64-bit length (we'll just use 32-bit for simplicity)
        frame->payload_len = (bytes[2] << 24) | (bytes[3] << 16) | (bytes[4] << 8) | bytes[5];
        offset += 8;
    }

    if (frame->mask)
    {
        if (len < offset + 4)
        	return -1;
        memcpy(frame->masking_key, bytes + offset, 4);
        offset += 4;
    }

    if (len < offset + frame->payload_len)
    	return -1;

    frame->payload_data = (char *)(bytes + offset);
    return offset + frame->payload_len;
}

int create_ws_frame(char *buffer, int buflen, const char *payload, int payload_len, uint8_t opcode)
{
    if (buflen < payload_len + 10)
    	return -1;

    int offset = 0;
    buffer[offset++] = 0x80 | (opcode & 0x0F); // FIN + opcode

    if (payload_len <= 125)
    {
        buffer[offset++] = payload_len;
    }
    else if (payload_len <= 65535)
    {
        buffer[offset++] = 126;
        buffer[offset++] = (payload_len >> 8) & 0xFF;
        buffer[offset++] = payload_len & 0xFF;
    }
    else
    {
        buffer[offset++] = 127;
        // For simplicity, we'll assume payload_len fits in 32 bits
        buffer[offset++] = 0;
        buffer[offset++] = 0;
        buffer[offset++] = 0;
        buffer[offset++] = 0;
        buffer[offset++] = (payload_len >> 24) & 0xFF;
        buffer[offset++] = (payload_len >> 16) & 0xFF;
        buffer[offset++] = (payload_len >> 8) & 0xFF;
        buffer[offset++] = payload_len & 0xFF;
    }

    memcpy(buffer + offset, payload, payload_len);
    return offset + payload_len;
}

void broadcast_to_ws_clients(int* clients, const char *message, int len)
{
    char ws_frame[128];
    int frame_len = create_ws_frame(ws_frame, sizeof(ws_frame), message, len, 0x01);

    for (int idx = 0; idx < MAX_WS_CLIENTS; idx++)
    {
        if (clients[idx] >= 0)
        {
            if (write(clients[idx], ws_frame, frame_len) < 0)
            {
                printf("Failed to send to client %d, closing\n", idx);
                close(clients[idx]);
                clients[idx] = -1;
            }
        }
    }
}

void send_response(int sock, const char *content_type, const char *data, int len)
{
    char headers[128];
    int headers_len = snprintf(headers, sizeof(headers),
        "HTTP/1.1 200 OK\r\n"
        "Content-Type: %s\r\n"
        "Connection: close\r\n"
        "Content-Length: %d\r\n"
        "\r\n",
        content_type,
        len
    );

    write(sock, headers, headers_len);
    write(sock, data, len);
}
/* USER CODE END Application */
